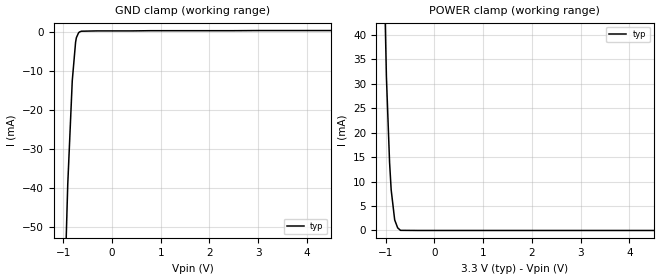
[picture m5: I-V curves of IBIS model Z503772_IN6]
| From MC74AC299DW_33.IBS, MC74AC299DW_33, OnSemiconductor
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| (C) COPYRIGHT 1993-2000
| MENTOR GRAPHICS CORPORATION
| ICX STANDARD LIBRARY, ICX PROJECT MODELING,
| ICX CUSTOM MODELING, ICX VENDOR MODEL
| ALL RIGHTS RESERVED.
| THE FOLLOWING ARE TRADEMARKS OR SERVICE MARKS OF
| MENTOR GRAPHICS CORPORATION:ICX (R), ICX STANDARD
| LIBRARY(R), ICX PROJECT MODELING(R), ICX CUSTOM
| MODELING(R), qualityIBIS(TM), MODELVIEWER(TM),
| AND MODELEDITOR(TM)
| ALL COPIES OF SOFTWARE, INCLUDING BUT NOT LIMITED TO
| ANY MODIFICATIONS, ENHANCEMENTS OR DERIVATIVE WORKS,
| MUST CONTAIN ALL MENTOR GRAPHICS CORPORATION'S
| NOTICES AND LEGENDS, INCLUDING THOSE EMBEDDED IN
| SOFTWARE AND THOSE AFFIXED TO SOFTWARE MEDIUM
| AND CONTAINER, AS RECEIVED FROM MENTOR GRAPHICS
| CORPORATION.
| Model Application Version 1.89 2/18/99.
[Model] Z503772_IN6
Model_type Input
Vinl = 990.0mV
Vinh = 2.310V
C_comp 4.000pF NA NA
| variable typ   min   max
[Voltage Range] 3.300V NA NA
[GND Clamp Reference] 0.000V NA NA
[POWER Clamp Reference] 3.300V NA NA
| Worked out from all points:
|   GND clamp passes 1 mA (typ) near -0.71 V on its own axis
|   POWER clamp passes 1 mA (typ) near -0.77 V on its own axis
[GND Clamp]
-3.3V     -2.084A    NA         NA
-1.045V   -98.45mA   NA         NA
-908.2mV  -39.16mA   NA         NA
-815.4mV  -12.58mA   NA         NA
-747.4mV  -2.737mA   NA         NA
-731.1mV  -1.565mA   NA         NA
-687.3mV  -349.1uA   NA         NA
-667.4mV  -101.6uA   NA         NA
-627.9mV  90.47uA    NA         NA
-314mV    169.9uA    NA         NA
6.6V      264uA      NA         NA
[POWER Clamp]
-3.3V     1.442A     NA         NA
-1.131V   98.86mA    NA         NA
-987mV    31.44mA    NA         NA
-922mV    13.93mA    NA         NA
-889mV    8.287mA    NA         NA
-817mV    2.157mA    NA         NA
-756mV    541.8uA    NA         NA
-698mV    24.9uA     NA         NA
-349mV    0A         NA         NA
6.6V      0A         NA         NA
